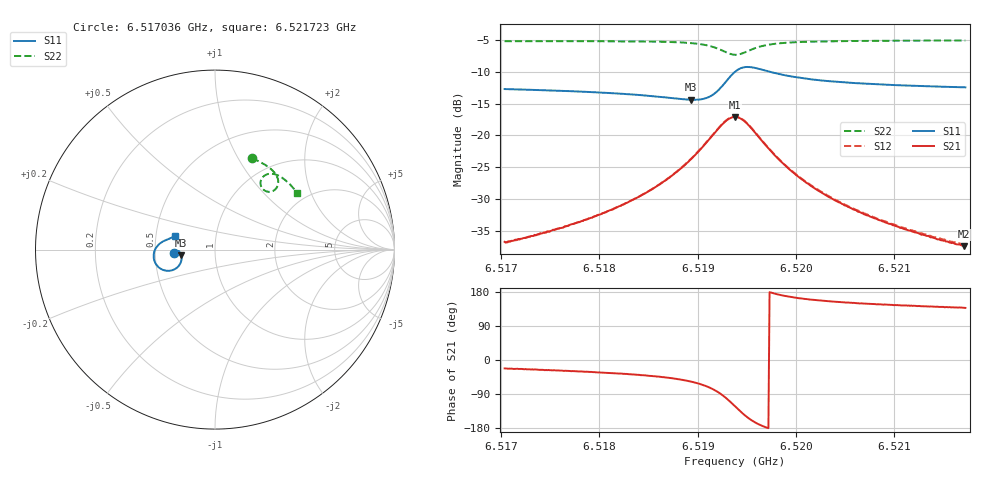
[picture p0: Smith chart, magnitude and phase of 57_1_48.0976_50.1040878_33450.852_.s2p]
#  HZ  S  RI  R  50.00
! Rohde & Schwarz Vector Network Analyzer
! Rohde-Schwarz,ZNB20-2Port,1311601062101988,3.16
! Created: UTC 12/23/2023, 3:40:22 AM
! freq[Hz]  re:S11  im:S11  re:S21  im:S21  re:S12  im:S12  re:S22  im:S22
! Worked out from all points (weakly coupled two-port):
!   401 points, 6.517036 GHz to 6.521723 GHz, reference 50 ohm
!   highest |S21| = -17.11 dB at 6.51938 GHz (marker M1); lowest = -37.4 dB at 6.521711 GHz (marker M2)
!   lowest |S11| = -14.4 dB at 6.518934 GHz (marker M3), VSWR 1.47, Z = 34.1 - j2.23 ohm
!   |S11| at or under -10 dB: start of sweep to 6.519381 GHz; 6.51973 GHz to end of sweep
!   |S22| runs from -7.3 to -5.1 dB; largest |S21 - S12| = 0.0041
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6.5170365e9  -0.2303 -0.0165  0.0135 -0.00551  0.0134 -0.00499  0.2064 0.5084
6.5173411e9  -0.2269 -0.012  0.015 -0.00697  0.0151 -0.00641  0.2289 0.4989
6.5178214e9  -0.2203 -0.00637  0.0184 -0.0107  0.0187 -0.0101  0.2644 0.481
6.5182666e9  -0.211 -0.00465  0.0235 -0.0176  0.024 -0.0168  0.2978 0.4596
6.5186063e9  -0.2006 -0.00933  0.0295 -0.0284  0.0303 -0.0276  0.3243 0.4369
6.5187704e9  -0.1943 -0.0167  0.0329 -0.0385  0.0343 -0.0374  0.3371 0.4214
6.5189344e9  -0.1876 -0.0315  0.0354 -0.0547  0.0373 -0.054  0.3484 0.3997
6.5190515e9  -0.186 -0.0509  0.0335 -0.074  0.036 -0.0736  0.3525 0.3777
6.5191453e9  -0.1921 -0.0745  0.0244 -0.0957  0.0272 -0.0956  0.3487 0.355
6.5192858e9  -0.237 -0.1145  -0.0219 -0.1276  -0.0185 -0.1291  0.3136 0.3233
6.5193796e9  -0.2955 -0.1106  -0.0741 -0.1181  -0.0715 -0.121  0.2733 0.3312
6.5194264e9  -0.3207 -0.0917  -0.0946 -0.0987  -0.0926 -0.1021  0.259 0.3476
6.519485e9  -0.3386 -0.06  -0.1069 -0.069  -0.1057 -0.0725  0.2534 0.3723
6.5195787e9  -0.3389 -0.0136  -0.1022 -0.0293  -0.102 -0.0325  0.2657 0.403
6.5196842e9  -0.3228 0.0181  -0.0848 -0.00477  -0.0854 -0.00727  0.2887 0.4189
6.5199068e9  -0.291 0.0446  -0.0549 0.0116  -0.0561 0.0101  0.3287 0.4209
6.5201645e9  -0.2693 0.0548  -0.0369 0.0141  -0.0377 0.0133  0.3589 0.4094
6.520516e9  -0.2524 0.0615  -0.0245 0.0132  -0.0252 0.0127  0.3885 0.3893
6.5209494e9  -0.2398 0.0677  -0.0167 0.0113  -0.0172 0.0112  0.4167 0.3637
6.5214532e9  -0.2294 0.0748  -0.0117 0.00981  -0.0122 0.00961  0.4443 0.333
6.5217109e9  -0.2251 0.0782  -0.00997 0.00906  -0.0105 0.00903  0.4568 0.3171
6.5217227e9  -0.2249 0.0784  -0.00994 0.00912  -0.0105 0.00898  0.4574 0.3163
